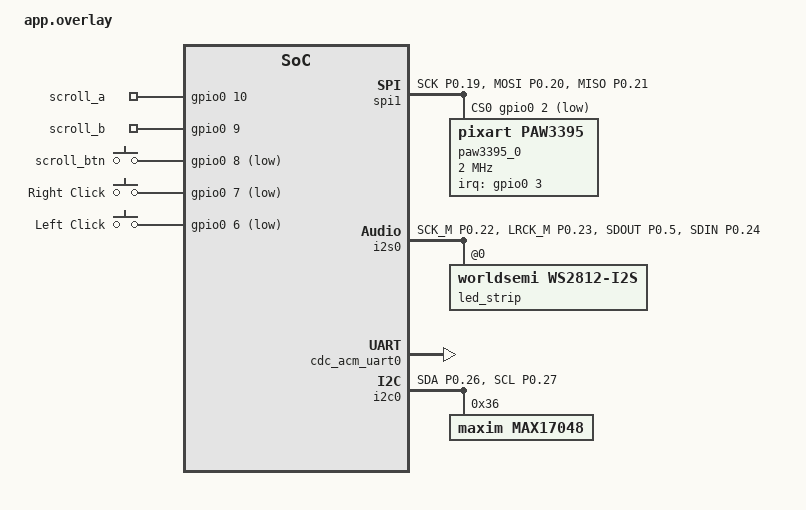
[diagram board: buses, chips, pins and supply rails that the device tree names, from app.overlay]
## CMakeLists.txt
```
#-------------------------------------------------------------------------------
# Zephyr Example Application
#
# Copyright (c) 2021 Nordic Semiconductor ASA
# SPDX-License-Identifier: Apache-2.0

cmake_minimum_required(VERSION 3.13.1)

list(APPEND ZEPHYR_EXTRA_MODULES
  ${CMAKE_CURRENT_SOURCE_DIR}/../../modules/paw3395
)

set(BOARD nrf52840dk/nrf52840)

find_package(Zephyr REQUIRED HINTS $ENV{ZEPHYR_BASE})

project(app)

file(GLOB app_sources src/*.c)
target_sources(app PRIVATE ${app_sources})
```

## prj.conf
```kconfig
# Copyright (c) 2021 Nordic Semiconductor ASA
# SPDX-License-Identifier: Apache-2.0
#
# This file contains selected Kconfig options for the application.

CONFIG_SPI=y
CONFIG_SENSOR=y
CONFIG_PAW3395=y

CONFIG_LOG=y
CONFIG_LOG_MODE_DEFERRED=y
CONFIG_LOG_DEFAULT_LEVEL=3
CONFIG_GPIO=y

CONFIG_SERIAL=y
CONFIG_CONSOLE=y
CONFIG_UART_CONSOLE=y
CONFIG_UART_LINE_CTRL=y

CONFIG_LED_STRIP=y

# ===== UNCOMMENT BELOW CONFIG FOR UF2 =====
# CONFIG_BUILD_OUTPUT_UF2=y
# CONFIG_BUILD_OUTPUT_UF2_FAMILY_ID="0xADA52840"
# CONFIG_ROM_START_OFFSET=0x1000

CONFIG_USB_DEVICE_STACK=y
CONFIG_USB_DEVICE_PRODUCT="Zephyr USB console sample"
CONFIG_USB_DEVICE_PID=0x0004
CONFIG_USB_DEVICE_INITIALIZE_AT_BOOT=n

# Fuel Gauge Battery %
CONFIG_FUEL_GAUGE=y
CONFIG_I2C=y
CONFIG_MAX17048=y
```

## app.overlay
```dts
/ {
    aliases {
        paw3395 = &paw3395_0;
        scrolla = &scroll_a;
        scrollb = &scroll_b;
        scrollbtn = &scroll_btn;
        ledstrip = &led_strip;
        sw0 = &left_button;
        sw1 = &right_button;
        fuel-gauge0 = &max17048;
    };

    
    buttons {
        compatible = "gpio-keys";
        status = "okay";
        
        scroll_a: scroll_a {
            gpios = <&gpio0 10 (GPIO_ACTIVE_HIGH | GPIO_PULL_UP)>;
        };
        scroll_b: scroll_b {
            gpios = <&gpio0 9 (GPIO_ACTIVE_HIGH | GPIO_PULL_UP)>;
        };
        scroll_btn: scroll_btn {
            gpios = <&gpio0 8 (GPIO_ACTIVE_LOW | GPIO_PULL_UP)>;
        };
        right_button: right_button {
            gpios = <&gpio0 7 (GPIO_ACTIVE_LOW | GPIO_PULL_UP)>;
            label = "Right Click";
        };
        left_button: left_button {
            gpios = <&gpio0 6 (GPIO_ACTIVE_LOW | GPIO_PULL_UP)>;
            label = "Left Click";
        };
    };    
};


&spi1 {
    compatible = "nordic,nrf-spim";
    status = "okay";
    pinctrl-0 = <&spi1_default>;
    pinctrl-1 = <&spi1_sleep>;
    pinctrl-names = "default", "sleep";
    cs-gpios = <&gpio0 2 GPIO_ACTIVE_LOW>;


    paw3395_0: paw3395@0 {
        compatible = "pixart,paw3395";
        reg = <0>;
        irq-gpios = <&gpio0 3 GPIO_ACTIVE_HIGH>;
        spi-max-frequency = <2000000>;
    };
};

i2s_led: &i2s0 {
	status = "okay";
	pinctrl-0 = <&i2s0_default_alt>;
	pinctrl-names = "default";

	led_strip: ws2812@0 {
		compatible = "worldsemi,ws2812-i2s";

		reg = <0>;
		chain-length = <0>; /* arbitrary; change at will */
		color-mapping = <1 0 2>;
		out-active-low;
		reset-delay = <120>;
	};
};


&pinctrl {
    spi1_default: spi1_default {
        group1 {
            psels = <NRF_PSEL(SPIM_SCK, 0, 19)>, 
                    <NRF_PSEL(SPIM_MOSI, 0, 20)>,
                    <NRF_PSEL(SPIM_MISO, 0, 21)>;
            };
    };
    spi1_sleep: spi1_sleep {
        group1 {
            psels = <NRF_PSEL(SPIM_SCK, 0, 19)>,
                    <NRF_PSEL(SPIM_MOSI, 0, 20)>,
                    <NRF_PSEL(SPIM_MISO, 0, 21)>;
            low-power-enable;
        };
    };
    i2s0_default_alt: i2s0_default_alt {
		group1 {
			psels = <NRF_PSEL(I2S_SCK_M, 0, 22)>,
				<NRF_PSEL(I2S_LRCK_M, 0, 23)>,
				<NRF_PSEL(I2S_SDOUT, 0, 5)>,
				<NRF_PSEL(I2S_SDIN, 0, 24)>;
		};
	};
};


/ {
	chosen {
		zephyr,console = &cdc_acm_uart0;
	};
};

&zephyr_udc0 {
	cdc_acm_uart0: cdc_acm_uart0 {
		compatible = "zephyr,cdc-acm-uart";
	};
};

&i2c0 {
	status = "okay";
	compatible = "nordic,nrf-twim";
	pinctrl-0 = <&i2c0_default>;
	pinctrl-1 = <&i2c0_sleep>;
	pinctrl-names = "default", "sleep";
	max17048:max17048@36 {
		compatible = "maxim,max17048";
		status = "ok";
		reg = <0x36 >;
	};
};

&pinctrl {
	i2c0_default: i2c0_default {
		group1 {
			psels = <NRF_PSEL(TWIM_SDA, 0, 26)>, <NRF_PSEL(TWIM_SCL, 0, 27)>;
		};
	};

	i2c0_sleep: i2c0_sleep {
		group1 {
			psels = <NRF_PSEL(TWIM_SDA, 0, 26)>, <NRF_PSEL(TWIM_SCL, 0, 27)>;
			low-power-enable;
		};
	};
};
```

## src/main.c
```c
#include <zephyr/kernel.h>
#include <zephyr/sys/printk.h>
#include <zephyr/usb/usb_device.h>
#include <zephyr/drivers/uart.h>
#include <math.h>

LOG_MODULE_REGISTER(main, LOG_LEVEL_DBG);

BUILD_ASSERT(DT_NODE_HAS_COMPAT(DT_CHOSEN(zephyr_console), zephyr_cdc_acm_uart),
	     "Console device is not ACM CDC UART device");

int usb_console(void)
{
	const struct device *const dev = DEVICE_DT_GET(DT_CHOSEN(zephyr_console));
	uint32_t dtr = 0;

	if (usb_enable(NULL)) {
		return 0;
	}

	/* Poll if the DTR flag was set */
	while (!dtr) {
		uart_line_ctrl_get(dev, UART_LINE_CTRL_DTR, &dtr);
		/* Give CPU resources to low priority threads. */
		k_sleep(K_MSEC(100));
	}

    return 0;
}

int main(void) {

	k_msleep(1000);

    usb_console();

    while (1) {
        // threads created on business_logic.c
        // polling thread - to get all data and send to host
        // cursor thread - to get dx dy data from paw3395 sensor
        // dpi control thread - to check dpi and implement led
        k_msleep(1000); 
    }

    return 0;
}
```

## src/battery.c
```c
// src/battery.c
#include <zephyr/kernel.h>
#include <zephyr/device.h>
#include <zephyr/devicetree.h>
#include <zephyr/drivers/fuel_gauge.h>
#include <zephyr/logging/log.h>
#include "battery.h"

LOG_MODULE_REGISTER(battery, CONFIG_LOG_DEFAULT_LEVEL);

static const struct device *battery_dev;

int battery_init(void)
{
	battery_dev = DEVICE_DT_GET(DT_ALIAS(fuel_gauge0));

	if (!device_is_ready(battery_dev)) {
		LOG_ERR("Fuel gauge device not ready");
		return -ENODEV;
	}

	LOG_INF("Fuel gauge ready: %s", battery_dev->name);
	return 0;
}

int battery_get_voltage_mv(int *voltage_mv)
{
	if (battery_dev == NULL || !device_is_ready(battery_dev)) {
		return -ENODEV;
	}

	fuel_gauge_prop_t prop = FUEL_GAUGE_VOLTAGE;
	union fuel_gauge_prop_val val;

	int ret = fuel_gauge_get_props(battery_dev, &prop, &val, 1);
	if (ret < 0) {
		LOG_ERR("Failed to read battery voltage: %d", ret);
		return ret;
	}

	*voltage_mv = val.voltage;
	return 0;
}
```

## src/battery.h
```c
// include/battery.h
#ifndef BATTERY_H
#define BATTERY_H

int battery_init(void);
int battery_get_voltage_mv(int *voltage_mv);

#endif // BATTERY_H
```

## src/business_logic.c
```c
#include <zephyr/kernel.h>
#include <zephyr/logging/log.h>
#include <zephyr/device.h>
#include <zephyr/drivers/sensor.h>

#include "business_logic.h"
#include "encoder.h"
#include "switch.h"
#include "led.h"
#include "paw3395.h"
#include "battery.h"

LOG_MODULE_REGISTER(business_logic, LOG_LEVEL_DBG);

/*
    * polling rate options: 1ms, 0.125ms
    * output from polling rate are:
        * cursor position
        * encoder increment/decrement
        * encoder button state
        * switch state: right, left
    * 
    * Pseudo code:
        * initiation
        * while(1)
            * get output value
            * delay for polling rate
            * send output value to host   

*/

// polling rate options 1ms, 0.125ms
#define POLLING_RATE_1000US 1000
#define POLLING_RATE_125US 125
paw3395_cpi_enum_t cpi_val = PAW3395_CPI_1600;
const struct device *paw3395 = DEVICE_DT_GET_ONE(pixart_paw3395);

// paw3395 setup
int cursor_position_x;
int cursor_position_y;
int cnt = 0;

// battery
int battery_percent = 0;

int get_battery_percent()
{
    return battery_percent;
}

void sensor_cursor_init()
{
    if (!device_is_ready(paw3395)) {
        LOG_ERR("PAW3395 device not ready");
    }
}

typedef enum {
    CONN_NONE,
    CONN_USB,
    CONN_ESB,
    CONN_BLE
} connection_type_enum_t;

int get_connection_type()
{
    // This function should return the current connection type
    // For now, we will return a default value
    return CONN_USB; // Example: returning USB connection type
}

void delay_for_polling_rate(connection_type_enum_t conn_type)
{
    k_msleep(20); // TODO: this just for testing
    return;

    if (conn_type == CONN_USB) {
        k_usleep(POLLING_RATE_1000US);
    } else if (conn_type == CONN_ESB) {
        k_usleep(POLLING_RATE_125US);
    } else if (conn_type == CONN_BLE) {
        k_usleep(POLLING_RATE_1000US); // Assuming BLE uses the same rate as USB for simplicity
    }else{
        // no polling
        k_usleep(850000);
    }
}

void rotate_dpi()
{
    cpi_val++;
    if (cpi_val == PAW3395_CPI_COUNT || cpi_val > PAW3395_CPI_COUNT){
        cpi_val = PAW3395_CPI_800;
    }
    struct sensor_value val;
    val.val1 = cpi_val;
    sensor_attr_set(paw3395, SENSOR_CHAN_ALL, PAW3395_ATTR_CPI_ALL, &val);
}

void update_led(paw3395_cpi_enum_t cpi_val)
{
    switch(cpi_val)
    {
        case PAW3395_CPI_800:
            led_set_color(LED_COLOR_RED); break;
        case PAW3395_CPI_1600:
            led_set_color(LED_COLOR_GREEN); break;
        case PAW3395_CPI_2400:
            led_set_color(LED_COLOR_YELLOW); break;
        case PAW3395_CPI_3200:
            led_set_color(LED_COLOR_ORANGE); break;
        case PAW3395_CPI_5000:
            led_set_color(LED_COLOR_PURPLE); break;
        case PAW3395_CPI_10000:
            led_set_color(LED_COLOR_CYAN); break;
        case PAW3395_CPI_26000:
            led_set_color(LED_COLOR_BLUE); break;
        default:
            led_set_color(LED_COLOR_OFF); break;
    }
}

int get_cursor_position_x()
{
    return cursor_position_x;
}

int get_cursor_positon_y()
{
    return cursor_position_y;
}

int get_encoder_increment()
{
    return encoder_get_scroll_delta();
}

bool get_encoder_button_state()
{
    return encoder_get_button_state();
}

bool get_switch_state_right()
{
    return switch_get_state_right();
}

bool get_switch_state_left()
{
    return switch_get_state_left();
}

void send_output_to_host(
    int cursor_x, int cursor_y, 
    int encoder_increment, bool encoder_button_state, 
    bool switch_right_state, bool switch_left_state,
    int battery_percent)
{
    // This function should send the output values to the host
    // For now, we will just print the values to the console
    cnt++;
    printk("%d,cursor_x,%d,cursor_y,%d,encoder_increment,%d,encoder_button,%d,switch_right,%d,switch_left,%d,battery,%d\n",
        cnt, cursor_x, cursor_y, 
        encoder_increment, encoder_button_state,
        switch_right_state, switch_left_state,
        battery_percent
    );

}

void polling_init()
{
    encoder_init();
    switch_init();
    led_init();
}

void polling_run(void)
{
    // Initiation code here if needed
    polling_init();
    while (1) {
        //TODO: Send output values to host
        send_output_to_host(
            get_cursor_position_x(),
            get_cursor_positon_y(), 
            get_encoder_increment(),
            get_encoder_button_state(), 
            get_switch_state_right(), 
            get_switch_state_left(),
            get_battery_percent()
        );

        // Delay for polling rate
        delay_for_polling_rate(get_connection_type());
    }
}


// ============== POLLING THREAD =================

#define POLLING_STACK_SIZE 1024
#define POLLING_THREAD_PRIORITY 5

void polling_thread(void *arg1, void *arg2, void *arg3)
{
    polling_run();
}

// Define the thread statically
K_THREAD_DEFINE(polling_thread_id, POLLING_STACK_SIZE,
                polling_thread, NULL, NULL, NULL,
                POLLING_THREAD_PRIORITY, 0, 0);

// ============== CURSOR THREAD =================

#define CURSOR_STACK_SIZE 1024
#define CURSOR_THREAD_PRIORITY 5

// create thread for cursor paw3395 sensor data fetching
void cursor_thread(void *arg1, void *arg2, void *arg3)
{
    sensor_cursor_init();
    while(1)
    {
        // Fetch sensor data
        if (sensor_sample_fetch(paw3395) == 0) {
            struct sensor_value dx, dy;
            sensor_channel_get(paw3395, SENSOR_CHAN_POS_DX, &dx);
            sensor_channel_get(paw3395, SENSOR_CHAN_POS_DY, &dy);

            // Update cursor position
            cursor_position_x = dx.val1;
            cursor_position_y = dy.val1;
        } else {
            LOG_ERR("Failed to fetch sensor data");
        }

        k_usleep(75); // put sleep less than lowest polling rate
    }
}

// Define the thread statically
K_THREAD_DEFINE(cursor_thread_id, CURSOR_STACK_SIZE,
                cursor_thread, NULL, NULL, NULL,
                CURSOR_THREAD_PRIORITY, 0, 0);


// ================= DPI CONTROL THREAD =================
// encoder button, paw3395 cpi value, led

#define DPI_CONTROL_STACK_SIZE 1024
#define DPI_CONTROL_THREAD_PRIORITY 5

void dpi_control_thread(void *arg1, void *arg2, void *arg3)
{
    sensor_cursor_init();
    while (1)
    {
        // if encoder button pressed, increse DPI level
        if(get_encoder_button_state())
        {
            // increase DPI
            rotate_dpi();
            // set LED
            // update_led(cpi_val);
        }

        k_msleep(1);
    }
    
}

// Define the thread statically
K_THREAD_DEFINE(dpi_control_thread_id, DPI_CONTROL_STACK_SIZE,
                dpi_control_thread, NULL, NULL, NULL,
                DPI_CONTROL_THREAD_PRIORITY, 0, 0);


#define BATTERY_STACK_SIZE 1024
#define BATTERY_THREAD_PRIORITY 5

void battery_thread(void *arg1, void *arg2, void *arg3)
{
    battery_init();
    while (1)
    {
        battery_get_percentage(&battery_percent);
        k_msleep(1000);
    }
    
}

// Define the thread statically
K_THREAD_DEFINE(battery_thread_id, BATTERY_STACK_SIZE,
                battery_thread, NULL, NULL, NULL,
                BATTERY_THREAD_PRIORITY, 0, 0);
```

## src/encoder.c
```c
#include "encoder.h"
#include <zephyr/kernel.h>

#define SCROLL_A_NODE DT_ALIAS(scrolla)
#define SCROLL_B_NODE DT_ALIAS(scrollb)
#define SCROLL_BTN_NODE DT_ALIAS(scrollbtn)

static const struct gpio_dt_spec scroll_a = GPIO_DT_SPEC_GET_OR(SCROLL_A_NODE, gpios, {0});
static const struct gpio_dt_spec scroll_b = GPIO_DT_SPEC_GET_OR(SCROLL_B_NODE, gpios, {0});
static const struct gpio_dt_spec scroll_btn = GPIO_DT_SPEC_GET_OR(SCROLL_BTN_NODE, gpios, {0});


static struct gpio_callback scroll_a_cb;
static struct gpio_callback scroll_b_cb;
static struct gpio_callback btn_cb;

static volatile int scroll_delta = 0;
static volatile bool button_pressed = false;
static int last_a = 0;
static int last_b = 0;

#include <zephyr/kernel.h>

#define DEBOUNCE_MS 20
static struct k_work_delayable debounce_work;
static int64_t last_btn_change_time = 0;

static void update_scroll_direction(void) {
    int a = gpio_pin_get_dt(&scroll_a);
    int b = gpio_pin_get_dt(&scroll_b);

    // Gray code decoding
    if ((last_a == 0 && last_b == 0 && a == 1 && b == 0) ||
        (last_a == 1 && last_b == 1 && a == 0 && b == 1) ||
        (last_a == 1 && last_b == 0 && a == 1 && b == 1) ||
        (last_a == 0 && last_b == 1 && a == 0 && b == 0)) {
        scroll_delta++;
    } else if (
        (last_a == 0 && last_b == 0 && a == 0 && b == 1) ||
        (last_a == 1 && last_b == 1 && a == 1 && b == 0) ||
        (last_a == 1 && last_b == 0 && a == 0 && b == 0) ||
        (last_a == 0 && last_b == 1 && a == 1 && b == 1)) {
        scroll_delta--;
    }

    last_a = a;
    last_b = b;
}

static void scroll_a_isr(const struct device *dev, struct gpio_callback *cb, uint32_t pins) {
    update_scroll_direction();
}

static void scroll_b_isr(const struct device *dev, struct gpio_callback *cb, uint32_t pins) {
    update_scroll_direction();
}

static void debounce_btn(struct k_work *work)
{
    button_pressed = (gpio_pin_get_dt(&scroll_btn) == 0);  // active low
}

static void btn_isr(const struct device *dev, struct gpio_callback *cb, uint32_t pins)
{
    if (pins & BIT(scroll_btn.pin)) {
        k_work_schedule(&debounce_work, K_MSEC(DEBOUNCE_MS));
    }
}

int encoder_get_scroll_delta(void) {
    int delta = scroll_delta;
    scroll_delta = 0;
    return delta;
}

bool encoder_get_button_state(void) {
    return button_pressed;
}

int encoder_init(void) {
    int ret;

    if (!device_is_ready(scroll_a.port) || !device_is_ready(scroll_b.port)) {
        printk("Scroll encoder GPIO devices not ready\n");
        return -ENODEV;
    }

    if(!device_is_ready(scroll_btn.port)) {
        printk("Scroll switch GPIO devices not ready\n");
        return -ENODEV;
    }
    ret = gpio_pin_configure_dt(&scroll_a, GPIO_INPUT);
    if (ret) {
        printk("Failed to configure scroll A GPIO: %d\n", ret);
        return ret;
    }
    ret = gpio_pin_configure_dt(&scroll_b, GPIO_INPUT);
    if (ret) {
        printk("Failed to configure scroll B GPIO: %d\n", ret);   
        return ret;
    }
    ret = gpio_pin_configure_dt(&scroll_btn, GPIO_INPUT | GPIO_PULL_UP);
    if (ret) { 
        printk("Failed to configure scroll button GPIO: %d\n", ret);
        return ret;
    }
    // Save initial state
    last_a = gpio_pin_get_dt(&scroll_a);
    last_b = gpio_pin_get_dt(&scroll_b);

    // Interrupts for scroll A and B
    ret = gpio_pin_interrupt_configure_dt(&scroll_a, GPIO_INT_EDGE_BOTH);
    if (ret) {
        printk("Failed to configure scroll A interrupt: %d\n", ret);   
        return ret;
    }
    gpio_init_callback(&scroll_a_cb, scroll_a_isr, BIT(scroll_a.pin));
    gpio_add_callback(scroll_a.port, &scroll_a_cb);

    ret = gpio_pin_interrupt_configure_dt(&scroll_b, GPIO_INT_EDGE_BOTH);
    if (ret) {
        printk("Failed to configure scroll B interrupt: %d\n", ret);   
        return ret;
    }
    gpio_init_callback(&scroll_b_cb, scroll_b_isr, BIT(scroll_b.pin));
    gpio_add_callback(scroll_b.port, &scroll_b_cb);

    // Interrupt for scroll button (center click)
    k_work_init_delayable(&debounce_work, debounce_btn);

    ret = gpio_pin_interrupt_configure_dt(&scroll_btn, GPIO_INT_EDGE_BOTH);
    if (ret) {
        printk("Failed to configure scroll button interrupt: %d\n", ret);
        return ret;
    }
    gpio_init_callback(&btn_cb, btn_isr, BIT(scroll_btn.pin));
    gpio_add_callback(scroll_btn.port, &btn_cb);

    return 0;
}
```

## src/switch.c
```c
#include <zephyr/kernel.h>
#include <zephyr/device.h>
#include <zephyr/devicetree.h>
#include <zephyr/drivers/gpio.h>
#include "switch.h"

#define LEFT_SWITCH_NODE  DT_ALIAS(sw0)
#define RIGHT_SWITCH_NODE DT_ALIAS(sw1)

#define DEBOUNCE_DELAY_MS 50

static const struct gpio_dt_spec left_switch  = GPIO_DT_SPEC_GET_OR(LEFT_SWITCH_NODE, gpios, {0});
static const struct gpio_dt_spec right_switch = GPIO_DT_SPEC_GET_OR(RIGHT_SWITCH_NODE, gpios, {0});

static struct gpio_callback left_cb_data;
static struct gpio_callback right_cb_data;

static struct k_work_delayable left_work;
static struct k_work_delayable right_work;

static bool left_pressed = false;
static bool right_pressed = false;

static void debounce_left(struct k_work *work)
{
    // Active-low: pressed when pin reads 0
    left_pressed = (gpio_pin_get_dt(&left_switch) == 0);
}

static void debounce_right(struct k_work *work)
{
    right_pressed = (gpio_pin_get_dt(&right_switch) == 0);
}

static void switch_pressed_isr(const struct device *dev, struct gpio_callback *cb, uint32_t pins)
{
    if (pins & BIT(left_switch.pin)) {
        k_work_schedule(&left_work, K_MSEC(DEBOUNCE_DELAY_MS));
    }

    if (pins & BIT(right_switch.pin)) {
        k_work_schedule(&right_work, K_MSEC(DEBOUNCE_DELAY_MS));
    }
}

bool switch_get_state_left(void)
{
    return left_pressed;
}

bool switch_get_state_right(void)
{
    return right_pressed;
}

void switch_init()
{

    if (!device_is_ready(left_switch.port)) {
        printk("Error: left switch device not ready\n");
        return;
    }

    if (!device_is_ready(right_switch.port)) {
        printk("Error: right switch device not ready\n");
        return;
    }

    gpio_pin_configure_dt(&left_switch, GPIO_INPUT | GPIO_PULL_UP);
    gpio_pin_configure_dt(&right_switch, GPIO_INPUT | GPIO_PULL_UP);

    gpio_pin_interrupt_configure_dt(&left_switch, GPIO_INT_EDGE_TO_ACTIVE);
    gpio_pin_interrupt_configure_dt(&right_switch, GPIO_INT_EDGE_TO_ACTIVE);

    gpio_init_callback(&left_cb_data, switch_pressed_isr, BIT(left_switch.pin));
    gpio_init_callback(&right_cb_data, switch_pressed_isr, BIT(right_switch.pin));

    gpio_add_callback(left_switch.port, &left_cb_data);
    gpio_add_callback(right_switch.port, &right_cb_data);

    k_work_init_delayable(&left_work, debounce_left);
    k_work_init_delayable(&right_work, debounce_right);
}
```

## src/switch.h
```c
#ifndef SWITCH_H
#define SWITCH_H

#ifdef __cplusplus
extern "C" {
#endif

typedef void (*switch_callback_t)(int switch_id);

void switch_init(switch_callback_t callback);

#ifdef __cplusplus
}
#endif

#endif // SWITCH_H
```
